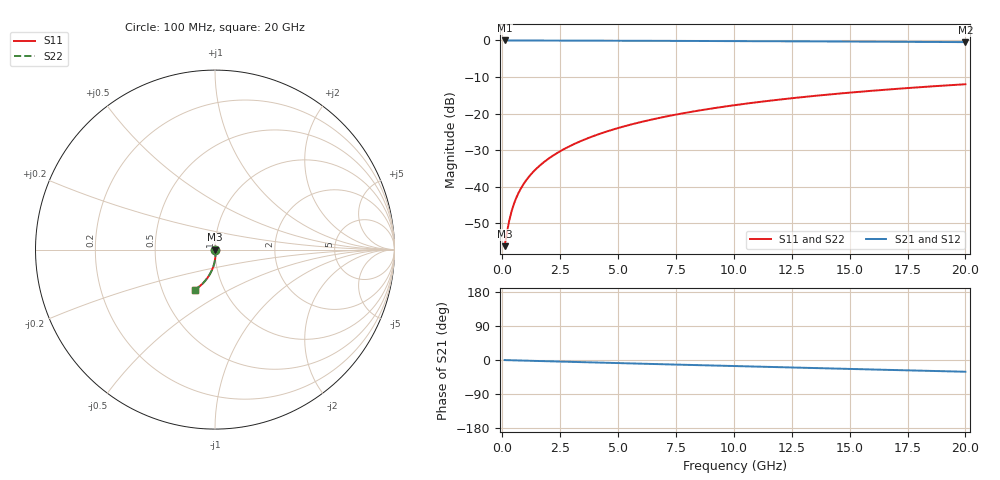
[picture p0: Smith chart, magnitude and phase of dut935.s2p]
! Touchstone file exported from HFSS 2026.1.0
!  File:  C:/ffzhzh/LocalFiles/Ansys_Project_Files/temp_train_BSMRDL_935_1783171986_18472.aedt
!  Generated:  09:34:12 PM Jul  4, 2026
!  Design:  BSMRDL
!  Project:  temp_train_BSMRDL_935_1783171986_18472
! Variables:
!  h_bsmrdl = 5.53um
!  h_ox = 20um
!  h_rdl = 5um
!  h_sub = 80um
!  h_tmrdl = 5um
!  h_tsv = 80um
!  h_via = 3um
!  l_bsmrdl = 479.48um
!  l_sub = 879.48um
!  l_tmrdl = 200um
!  m_sub = 200um
!  pitch = 30.9um
!  r_tsv = 6um
!  s_tmrdl = 10um
!  w_bsmrdl = 29.17um
!  w_sub = 500um
!  w_tmrdl = 12um
!  x_tsv_center1 = 206um
!  x_tsv_center2 = 714.65um
!  x_tsv_center3 = 926.65um
!  x_tsv_center4 = 1435.3um
!  x_tsv_center5 = 1647.3um
!  x_tsv_center6 = 2155.95um
# GHz S MA R 50.000000
! Terminal data exported
! Port[1] = BSM_RDL1_1_T1
! Port[2] = BSM_RDL1_1_T2
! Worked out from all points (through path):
!   200 points, 100 MHz to 20 GHz, reference 50 ohm
!   highest |S21| = -0.01 dB at 100 MHz (marker M1); lowest = -0.5 dB at 20 GHz (marker M2)
!   group delay of S21, straight-line fit = 4.29 ps
!   lowest |S11| = -56.3 dB at 100 MHz (marker M3), VSWR 1.00, Z = 50.1 - j0.0623 ohm
!   |S11| at or under -10 dB: start of sweep to end of sweep
!   |S22| runs from -56.3 to -12.0 dB; largest |S21 - S12| = 5.1e-15
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0.1  0.001539 -23.8  0.9986 -0.2  0.9986 -0.2  0.001539 -23.8
! Gamma 0 0 0 0
! Port Impedance 50 0 50 0
0.2  0.002369 -40.1  0.9982 -0.4  0.9982 -0.4  0.002368 -40.1
0.3  0.003437 -50.9  0.9978 -0.6  0.9978 -0.6  0.003437 -50.9
0.4  0.004599 -58.2  0.9975 -0.7  0.9975 -0.7  0.004599 -58.2
0.5  0.005795 -63.4  0.9973 -0.9  0.9973 -0.9  0.005795 -63.4
0.6  0.007002 -67.3  0.9972 -1.0  0.9972 -1.0  0.007002 -67.3
0.7  0.008215 -70.2  0.997 -1.2  0.997 -1.2  0.008215 -70.2
0.8  0.00943 -72.5  0.9969 -1.4  0.9969 -1.4  0.00943 -72.5
1  0.01187 -75.8  0.9967 -1.7  0.9967 -1.7  0.01187 -75.8
1.4  0.01677 -79.8  0.9962 -2.4  0.9962 -2.4  0.01677 -79.8
1.7  0.02048 -81.7  0.9958 -2.9  0.9958 -2.9  0.02048 -81.7
2  0.02423 -83.1  0.9954 -3.4  0.9954 -3.4  0.02423 -83.1
2.7  0.03312 -85.5  0.9943 -4.5  0.9943 -4.5  0.03312 -85.5
3.5  0.04351 -87.6  0.9929 -5.8  0.9929 -5.8  0.04351 -87.6
4.2  0.05274 -89.2  0.9915 -6.9  0.9915 -6.9  0.05274 -89.2
5  0.06339 -90.9  0.99 -8.2  0.99 -8.2  0.06339 -90.9
6.8  0.08748 -94.6  0.9863 -11.0  0.9863 -11.0  0.08749 -94.6
8.3  0.1075 -97.4  0.983 -13.3  0.983 -13.3  0.1075 -97.4
10.1  0.1311 -100.7  0.9786 -16.1  0.9786 -16.1  0.1312 -100.7
13.4  0.1734 -106.3  0.9695 -21.2  0.9695 -21.2  0.1734 -106.3
16.7  0.2138 -111.7  0.9591 -26.1  0.9591 -26.1  0.2138 -111.6
20  0.2518 -116.8  0.9475 -31.0  0.9475 -31.0  0.2518 -116.8
